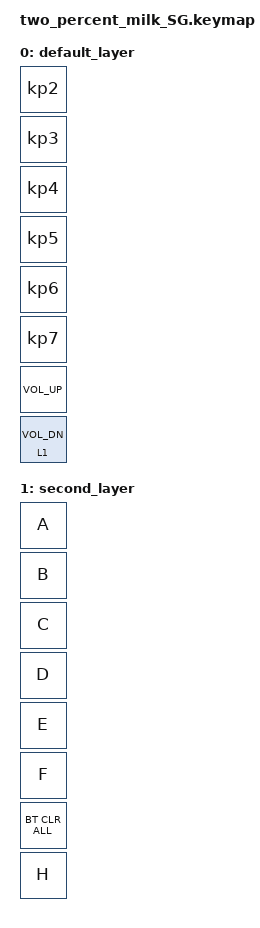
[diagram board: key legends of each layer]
#include <behaviors.dtsi>
#include <dt-bindings/zmk/keys.h>
#include <dt-bindings/zmk/bt.h>

/ {
    keymap {
        compatible = "zmk,keymap";
        default_layer {
            bindings = <
                &kp KP_N2
                &kp KP_N3
                &kp KP_N4
                &kp KP_N5
                &kp KP_N6
                &kp KP_N7
                &kp C_VOL_UP
                &lt 1 C_VOL_DN
            >;
        };
        second_layer {
            bindings = <
                &kp A
                &kp B
                &kp C
                &kp D
                &kp E
                &kp F
                &bt BT_CLR_ALL
                &kp H
            >;
        };
    };
};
